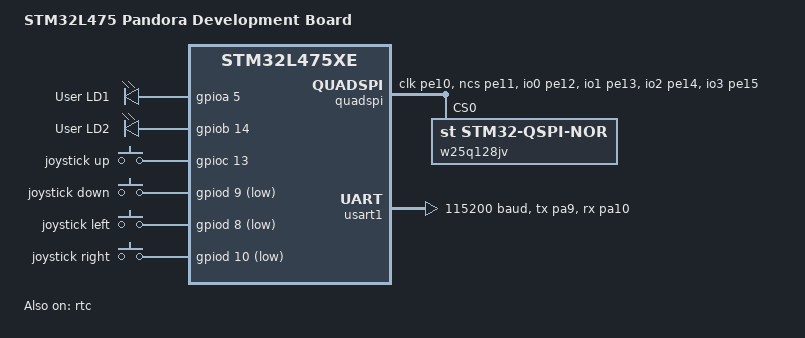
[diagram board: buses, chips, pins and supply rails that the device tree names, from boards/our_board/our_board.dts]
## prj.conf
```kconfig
CONFIG_GPIO=y
CONFIG_LOG=y

#CONFIG_BLINK_SLEEP_250MS=y
#CONFIG_BLINK_SLEEP_TIME_MS=1000
#CONFIG_BLINK_SLEEP_TIME_MS=y    Not allowed as its an integer
```

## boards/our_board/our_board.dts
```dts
/*
 * Copyright (c) 2017 TsMax
 *
 * Based on stm32l475_pandora:
 *
 * Copyright (c) 2017 Tisilicon Limited
 *
 * SPDX-License-Identifier: Apache-2.0
 */

/dts-v1/;
#include <st/l4/stm32l475Xe.dtsi>
#include <st/l4/stm32l475v(c-e-g)tx-pinctrl.dtsi>
#include <zephyr/dt-bindings/input/input-event-codes.h>

/ {
	model = "STM32L475 Pandora Development Board";
	compatible = "bhupendra,our_board";

	aliases {
		led0 = &green_led_1; /* LED GPIO pins from Discovery STM32L475 */
		sw0 = &joy_up;
	};

	chosen {
		zephyr,console = &usart1;
		zephyr,shell-uart = &usart1;
		zephyr,sram = &sram0;
		zephyr,flash = &flash0;
	};

	leds {
		compatible = "gpio-leds";

		// red_led: led_0 {
		// 	gpios = <&gpioe 7 GPIO_ACTIVE_HIGH>;
		// 	label = "User LED_R";
		// };

		// green_led: led_1 {
		// 	gpios = <&gpioe 8 GPIO_ACTIVE_HIGH>;
		// 	label = "User LED_G";
		// };

		// blue_led: led_2 {
		// 	gpios = <&gpioe 9 GPIO_ACTIVE_HIGH>;
		// 	label = "User LED_B";
		// };

		/* LED GPIO pins from Discovery STM32L475 */
		green_led_1: led_1 {
			gpios = <&gpioa 5 GPIO_ACTIVE_HIGH>;
			label = "User LD1";
		};

		/* LED GPIO pins from Discovery STM32L475 */
		green_led_2: led_2 {
			gpios = <&gpiob 14 GPIO_ACTIVE_HIGH>;
			label = "User LD2";
		};
	};

	gpio_keys {
		compatible = "gpio-keys";

		joy_up: joystick_up {
			label = "joystick up";
			gpios = <&gpioc 13 (GPIO_ACTIVE_HIGH | GPIO_PULL_DOWN)>;
			zephyr,code = <INPUT_KEY_UP>;
		};

		joy_down: joystick_down {
			label = "joystick down";
			gpios = <&gpiod 9 (GPIO_ACTIVE_LOW | GPIO_PULL_UP)>;
			zephyr,code = <INPUT_KEY_DOWN>;
		};

		joy_left: joystick_left {
			label = "joystick left";
			gpios = <&gpiod 8 (GPIO_ACTIVE_LOW | GPIO_PULL_UP)>;
			zephyr,code = <INPUT_KEY_LEFT>;
		};

		joy_right: joystick_right {
			label = "joystick right";
			gpios = <&gpiod 10 (GPIO_ACTIVE_LOW | GPIO_PULL_UP)>;
			zephyr,code = <INPUT_KEY_RIGHT>;
		};
	};
};

&quadspi {
	pinctrl-0 = <&quadspi_clk_pe10 &quadspi_ncs_pe11
		     &quadspi_bk1_io0_pe12 &quadspi_bk1_io1_pe13
		     &quadspi_bk1_io2_pe14 &quadspi_bk1_io3_pe15>;
	pinctrl-names = "default";
	status = "okay";

	w25q128jv: qspi-nor-flash@0 {
		compatible = "st,stm32-qspi-nor";
		reg = <0>;
		size = <DT_SIZE_M(128)>; /* 128 Mbits */
		qspi-max-frequency = <80000000>;
		cs-high-time = <4>; /* >= 50 ns */
		jedec-id = [ef 40 18];
		spi-bus-width = <4>;
		writeoc = "PP_1_1_4";
		status = "okay";
	};
};

&clk_lsi {
	status = "okay";
};

&clk_hsi {
	status = "okay";
};

&pll {
	div-m = <1>;
	mul-n = <20>;
	div-p = <7>;
	div-q = <2>;
	div-r = <4>;
	clocks = <&clk_hsi>;
	status = "okay";
};

&rcc {
	clocks = <&pll>;
	clock-frequency = <DT_FREQ_M(80)>;
	ahb-prescaler = <1>;
	apb1-prescaler = <1>;
	apb2-prescaler = <1>;
};

&usart1 {
	pinctrl-0 = <&usart1_tx_pa9 &usart1_rx_pa10>;
	pinctrl-names = "default";
	current-speed = <115200>;
	status = "okay";
};

&rtc {
	clocks = <&rcc STM32_CLOCK(APB1, 28)>,
		 <&rcc STM32_SRC_LSI RTC_SEL(2)>;
	status = "okay";

	backup_regs {
		status = "okay";
	};
};
```

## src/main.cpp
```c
#include <zephyr/drivers/gpio.h>
#include <zephyr/kernel.h>
#include <zephyr/logging/log.h>

/* The devicetree node identifier for the "led0" alias. */
#define LED_NODE DT_ALIAS(led0)

static const struct gpio_dt_spec led = GPIO_DT_SPEC_GET(LED_NODE, gpios);

LOG_MODULE_REGISTER(main, LOG_LEVEL_INF);

int main(void)
{
    bool led_state = true;

    if (!gpio_is_ready_dt(&led)) return 0;

    if (gpio_pin_configure_dt(&led, GPIO_OUTPUT_ACTIVE) < 0) return 0;

    while (1) {
        if (gpio_pin_toggle_dt(&led) < 0) return 0;

        led_state = !led_state;
        LOG_INF("LED state: %s", led_state ? "ON" : "OFF");
        k_msleep(CONFIG_APP_HEARTBEAT_PERIOD_MS);
    }
    return 0;
}
```
